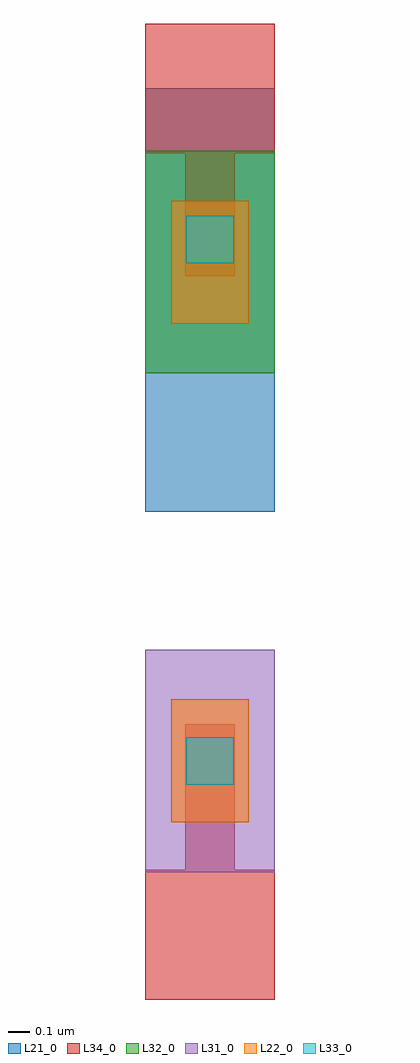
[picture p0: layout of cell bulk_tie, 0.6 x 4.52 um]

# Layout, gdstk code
import gdstk
lib = gdstk.Library(unit=1e-6, precision=5e-09)
def R(c, l, rs):  # rectangles x0, y0, x1, y1
    for r in rs: c.add(gdstk.rectangle(r[:2], r[2:], *l))
L21_0 = (21, 0)
L22_0 = (22, 0)
L31_0 = (31, 0)
L32_0 = (32, 0)
L33_0 = (33, 0)
L34_0 = (34, 0)

bulk_tie = lib.new_cell('bulk_tie')
R(bulk_tie, L21_0, [(8.125,5.725,8.725,7.685)])
R(bulk_tie, L22_0, [(8.245,4.285,8.605,4.855), (8.245,6.595,8.605,7.165)])
R(bulk_tie, L31_0, [(8.125,4.055,8.725,5.085)])
R(bulk_tie, L32_0, [(8.125,6.365,8.725,7.395)])
R(bulk_tie, L33_0, [(8.315,4.46,8.535,4.68), (8.315,6.875,8.535,7.095)])
R(bulk_tie, L34_0, [(8.125,3.465,8.725,4.065), (8.31,4.065,8.54,4.74), (8.31,6.815,8.54,7.385), (8.125,7.385,8.725,7.985)])

lib.write_gds('bulk_tie.gds')
